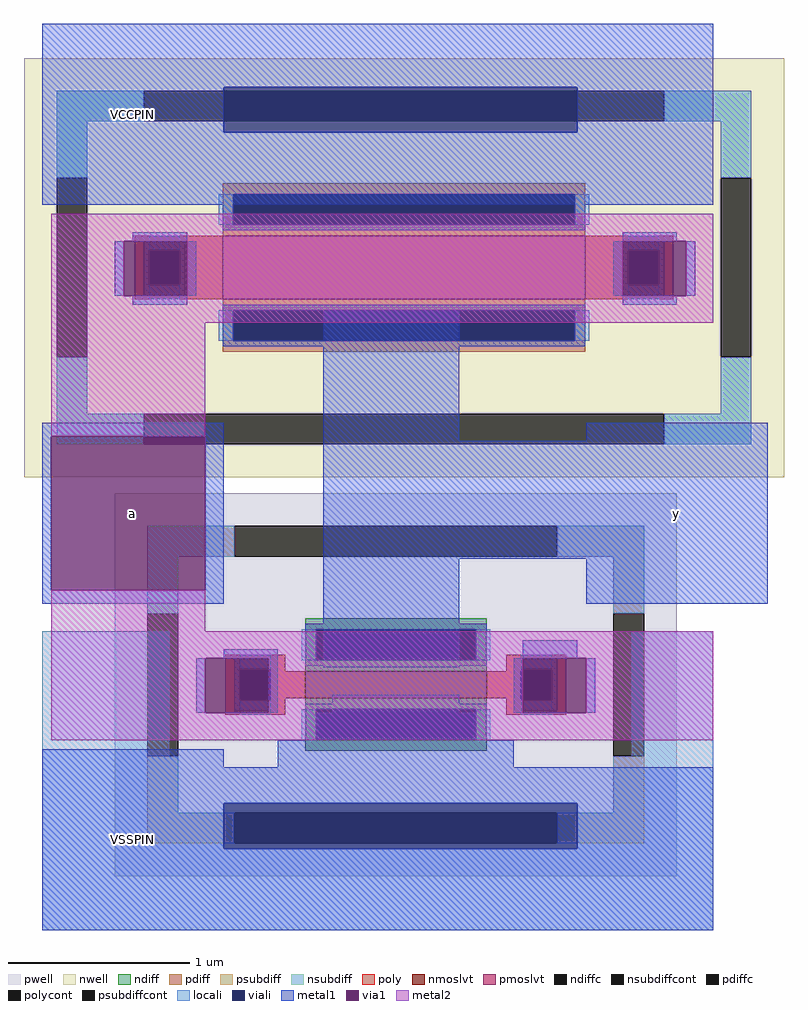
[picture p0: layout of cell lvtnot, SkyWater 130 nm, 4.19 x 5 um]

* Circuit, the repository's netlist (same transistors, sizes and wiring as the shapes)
** sch_path: /home/ttuser/wowa/xschem/lvtnot.sch
.subckt lvtnot y a VCCPIN VSSPIN
*.PININFO y:O a:I VCCPIN:I VSSPIN:I
XM2 y a VCCPIN VCCPIN sky130_fd_pr__pfet_01v8_lvt L=0.35 W=2 nf=1 m=1
XM1 y a VSSPIN VSSPIN sky130_fd_pr__nfet_01v8_lvt L=0.15 W=1 nf=1 m=1
.ends
.end

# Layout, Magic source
magic
tech sky130A
magscale 1 2
<< pwell >>
rect 1740 560 1880 600
rect 1710 550 1880 560
rect 1680 500 1880 550
rect 1680 480 1740 500
<< locali >>
rect 1420 460 1560 670
rect 1420 430 1620 460
rect 2070 460 2160 670
rect 2010 430 2160 460
rect 1420 340 2160 430
<< viali >>
rect 1620 1220 2010 1270
rect 1620 430 2010 480
<< metal1 >>
rect 1420 1270 2160 1340
rect 1420 1220 1620 1270
rect 2010 1220 2160 1270
rect 1420 1140 2160 1220
rect 1520 1100 1580 1110
rect 2060 1100 2120 1110
rect 1500 1040 1510 1100
rect 1580 1040 1590 1100
rect 2050 1040 2060 1100
rect 2130 1040 2140 1100
rect 1520 1030 1580 1040
rect 2060 1030 2120 1040
rect 1420 885 1620 900
rect 1420 715 1430 885
rect 1600 715 1620 885
rect 1420 700 1620 715
rect 1730 880 1880 1030
rect 2020 880 2220 900
rect 1730 750 2220 880
rect 1620 640 1680 650
rect 1590 580 1600 640
rect 1670 580 1680 640
rect 1730 630 1880 750
rect 2020 700 2220 750
rect 1950 640 2010 660
rect 1740 580 1880 600
rect 1940 580 1950 640
rect 2020 580 2030 640
rect 1720 560 1900 580
rect 1710 550 1900 560
rect 1420 520 1620 540
rect 1680 520 1940 550
rect 1420 480 2160 520
rect 1420 430 1620 480
rect 2010 430 2160 480
rect 1420 340 2160 430
<< via1 >>
rect 1510 1040 1580 1100
rect 2060 1040 2130 1100
rect 1430 715 1600 885
rect 1600 580 1670 640
rect 1950 580 2020 640
<< metal2 >>
rect 1430 1100 2160 1130
rect 1430 1040 1510 1100
rect 1580 1040 2060 1100
rect 2130 1040 2160 1100
rect 1430 1010 2160 1040
rect 1430 885 1600 1010
rect 1430 670 1600 715
rect 1430 640 2160 670
rect 1430 580 1600 640
rect 1670 580 1950 640
rect 2020 580 2160 640
rect 1430 550 2160 580
use sky130_fd_pr__nfet_01v8_lvt_648S5X  XM1
transform 0 -1 1810 1 0 611
box -211 -310 211 310
use sky130_fd_pr__pfet_01v8_lvt_4QFWD3  XM2
transform 0 1 1819 -1 0 1071
box -231 -419 231 419
<< labels >>
flabel metal1 1420 700 1620 900 0 FreeSans 1280 0 0 0 a
port 0 nsew
flabel metal1 2020 700 2220 900 0 FreeSans 1280 0 0 0 y
port 1 nsew
flabel metal1 1420 1140 1620 1340 0 FreeSans 1280 0 0 0 VCCPIN
port 2 nsew
flabel metal1 1420 340 1620 540 0 FreeSans 1280 0 0 0 VSSPIN
port 3 nsew
<< end >>

# cell sky130_fd_pr__nfet_01v8_lvt_648S5X: kit device sky130_fd_pr__nfet_01v8_lvt, w 1.0 l 0.15 m 1 nf 1 diffcov 100 polycov 100 guard 1 glc 1 grc 1 gtc 1 gbc 1 tbcov 100 rlcov 100 topc 1 botc 1 poverlap 0 doverlap 1 lmin 0.15 wmin 0.42 compatible {sky130_fd_pr__nfet_01v8 sky130_fd_pr__nfet_01v8_lvt sky130_fd_bs_flash__special_sonosfet_star sky130_fd_pr__nfet_g5v0d10v5 sky130_fd_pr__nfet_05v0_nvt sky130_fd_pr__nfet_03v3_nvt} full_metal 1 viasrc 100 viadrn 100 viagate 100 viagb 0 viagr 0 viagl 0 viagt 0

# cell sky130_fd_pr__pfet_01v8_lvt_4QFWD3: kit device sky130_fd_pr__pfet_01v8_lvt, w 2.0 l 0.35 m 1 nf 1 diffcov 100 polycov 100 guard 1 glc 1 grc 1 gtc 1 gbc 1 tbcov 100 rlcov 100 topc 1 botc 1 poverlap 0 doverlap 1 lmin 0.35 wmin 0.42 compatible {sky130_fd_pr__pfet_01v8 sky130_fd_pr__pfet_01v8_lvt sky130_fd_pr__pfet_01v8_hvt sky130_fd_pr__pfet_g5v0d10v5} full_metal 1 viasrc 100 viadrn 100 viagate 100 viagb 0 viagr 0 viagl 0 viagt 0
